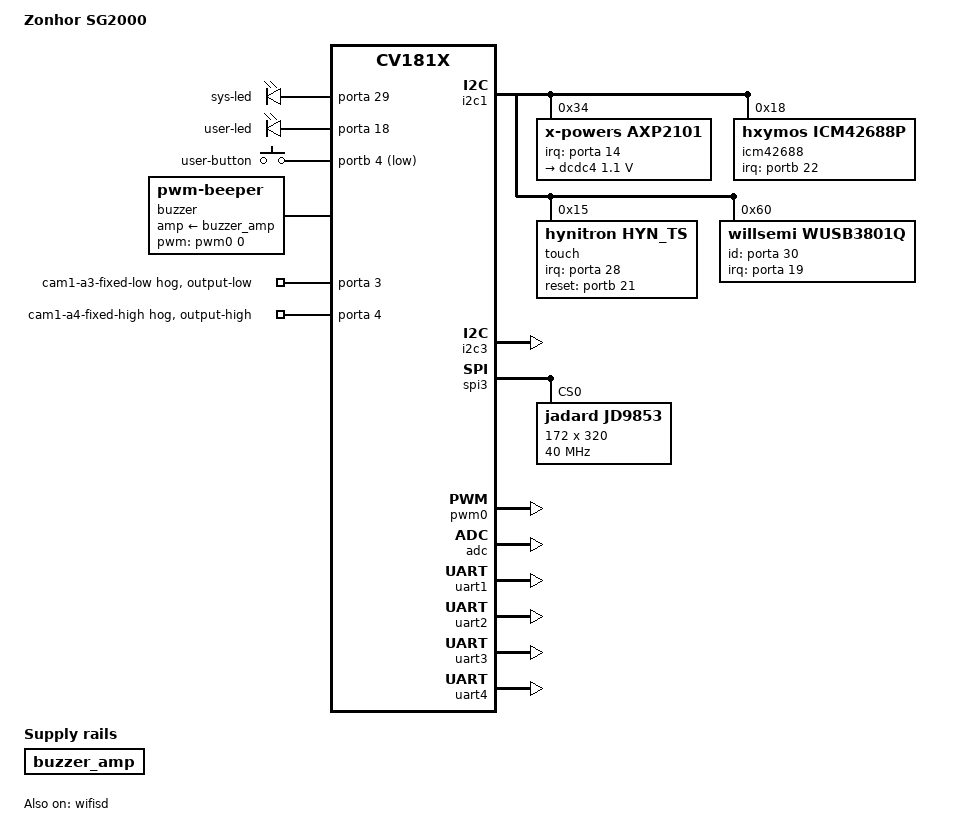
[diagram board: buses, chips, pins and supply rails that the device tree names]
/dts-v1/;
#include "cv181x_base_arm.dtsi"
#include "cv181x_asic_bga.dtsi"
#include "cv181x_asic_emmc.dtsi"
#include "cv181x_default_memmap.dtsi"

/ {
	model = "Zonhor SG2000";

	leds {
		compatible = "gpio-leds";

		sys-led {
			label = "sys-led";
			gpios = <&porta 29 GPIO_ACTIVE_HIGH>;
			linux,default-trigger = "activity";
		};

		user-led {
			label = "user-led";
			gpios = <&porta 18 GPIO_ACTIVE_HIGH>;
			default-state = "off";
		};
	};

	gpio-keys {
		compatible = "gpio-keys";

		user-button {
			label = "user-button";
			linux,code = <28>; /* KEY_ENTER */
			gpios = <&portb 4 GPIO_ACTIVE_LOW>;
			debounce-interval = <10>;
			wakeup-source;
		};
	};

	/* PWM0 on GPIOB_0 (PWM0_BUCK), 4 kHz buzzer */
	buzzer_amp: buzzer-amp {
		compatible = "regulator-fixed";
		regulator-name = "buzzer-amp";
		regulator-always-on;
	};

	buzzer {
		compatible = "pwm-beeper";
		pwms = <&pwm0 0 250000>;
		beeper-hz = <4000>;
		amp-supply = <&buzzer_amp>;
	};
};

&{/aliases} {
	spi0 = &spi0;
	spi1 = &spi1;
	spi2 = &spi2;
	spi3 = &spi3;
};

&mipi_rx {
	snsr-reset = <&porta 2 GPIO_ACTIVE_LOW>, <&porta 2 GPIO_ACTIVE_LOW>, <&porta 2 GPIO_ACTIVE_LOW>;
};

&porta {
	cam1-a3-fixed-low {
		gpio-hog;
		gpios = <3 GPIO_ACTIVE_HIGH>;
		output-low;
		line-name = "cam1-a3-fixed-low";
	};

	cam1-a4-fixed-high {
		gpio-hog;
		gpios = <4 GPIO_ACTIVE_HIGH>;
		output-high;
		line-name = "cam1-a4-fixed-high";
	};
};

&i2c0 {
	status = "disabled";
};

&i2c1 {
	status = "okay";

	/* Reserved addresses for board peripherals */
	axp2101: pmic@34 {
		compatible = "x-powers,axp2101";
		reg = <0x34>;
		/*
		 * INT# -> PAD_SD0_PWR_EN / GPIOA14 (open-drain, falling edge).
		 * U-Boot sets XGPIOA_14 + weak pull-up + input; keep &sd
		 * disabled so the SDHCI driver does not reclaim this pad.
		 */
		interrupt-parent = <&porta>;
		interrupts = <14 IRQ_TYPE_EDGE_FALLING>;
		wakeup-source;
		status = "okay";

		regulators {
			dcdc4 {
				regulator-name = "dcdc4";
				regulator-min-microvolt = <1100000>;
				regulator-max-microvolt = <1100000>;
				regulator-boot-on;
				regulator-always-on;
			};
		};

		battery-power-supply {
			compatible = "x-powers,axp2101-battery-power-supply";
		};
	};

	icm42688: imu@18 {
		compatible = "hxymos,icm42688p";
		reg = <0x18>;
		interrupt-parent = <&portb>;
		interrupts = <22 IRQ_TYPE_EDGE_RISING>;
		status = "okay";
	};

	touch@15 {
		compatible = "hynitron,hyn_ts";
		reg = <0x15>;
		interrupt-parent = <&porta>;
		interrupts = <28 IRQ_TYPE_EDGE_FALLING>;
		hynitron,irq-gpio = <&porta 28 0>;
		hynitron,reset-gpio = <&portb 21 0>;
		hynitron,max-touch-number = <1>;
		hynitron,display-coords = <172 320>;
		pos-swap = <0>;
		posx-reverse = <0>;
		posy-reverse = <0>;
		status = "okay";
	};

	wusb3801q: typec@60 {
		compatible = "willsemi,wusb3801q";
		reg = <0x60>;
		interrupt-parent = <&porta>;
		interrupts = <19 IRQ_TYPE_EDGE_FALLING>;
		id-gpios = <&porta 30 GPIO_ACTIVE_HIGH>;
		status = "okay";
	};
};

&i2c2 {
	status = "disabled";
};

&i2c3 {
	status = "okay";
};

&i2c4 {
	status = "disabled";
};

&spi3 {
	status = "okay";
	num-cs = <1>;
	spi-max-frequency = <40000000>;

	/delete-node/ spidev@0;

	jd9853: display@0 {
		compatible = "jadard,jd9853";
		reg = <0>;
		spi-max-frequency = <40000000>;
		buswidth = <8>;
		width = <172>;
		height = <320>;
		rotate = <0>;
		fps = <30>;
		backlight = <1>;
		fbtft,skip-init;
		dc = <&portb 20 0>;
		reset = <&portb 12 GPIO_ACTIVE_LOW>;
		te = <&portb 11 0>;
		led = <&porta 20 GPIO_ACTIVE_HIGH>;
		status = "okay";
	};
};

&pwm0 {
	#pwm-cells = <2>;
	status = "okay";
};

/* Enable internal ADC path; codec supports both MICL/MICR channels. */
&adc {
	status = "okay";
};

&{/sound_adc} {
	status = "okay";
};

&dac {
	/delete-property/ mute-gpio-l;
	/delete-property/ mute-gpio-r;
};

/* mipi dsi blocks unused on Zonhor (SPI JD9853 panel) */
&vo {
	status = "disabled";
};

&mipi_tx {
	status = "disabled";
};

/*
 * SDIO0 PAD_SD0_PWR_EN is reused as AXP2101 INT# (GPIOA14). The cv181x SD
 * host would force that pad back to SDIO0_PWR_EN + pull-down on probe, so
 * leave SD0 disabled; boot/storage uses eMMC, WiFi uses &wifisd (SDIO1).
 */
&sd {
	status = "disabled";
};

&wifisd {
	status = "okay";
	cap-sd-highspeed;
	sd-uhs-sdr25;
	sd-uhs-ddr50;
	sd-uhs-sdr104;
	min-frequency = <400000>;
	max-frequency = <187500000>;
};

&wifi_pin {
	status = "okay";
	compatible = "cvitek,wifi-pin";
	poweron-gpio = <&porta 15 GPIO_ACTIVE_HIGH>;
	wakeup-gpio = <&porte 7 GPIO_ACTIVE_HIGH>;
};

&usb {
	vbus-gpio = <&portb 6 0>;
};

&uart1 {
	status = "okay";
};

&uart2 {
	status = "okay";
};

&uart3 {
	status = "okay";
};

&uart4 {
	status = "okay";
};
